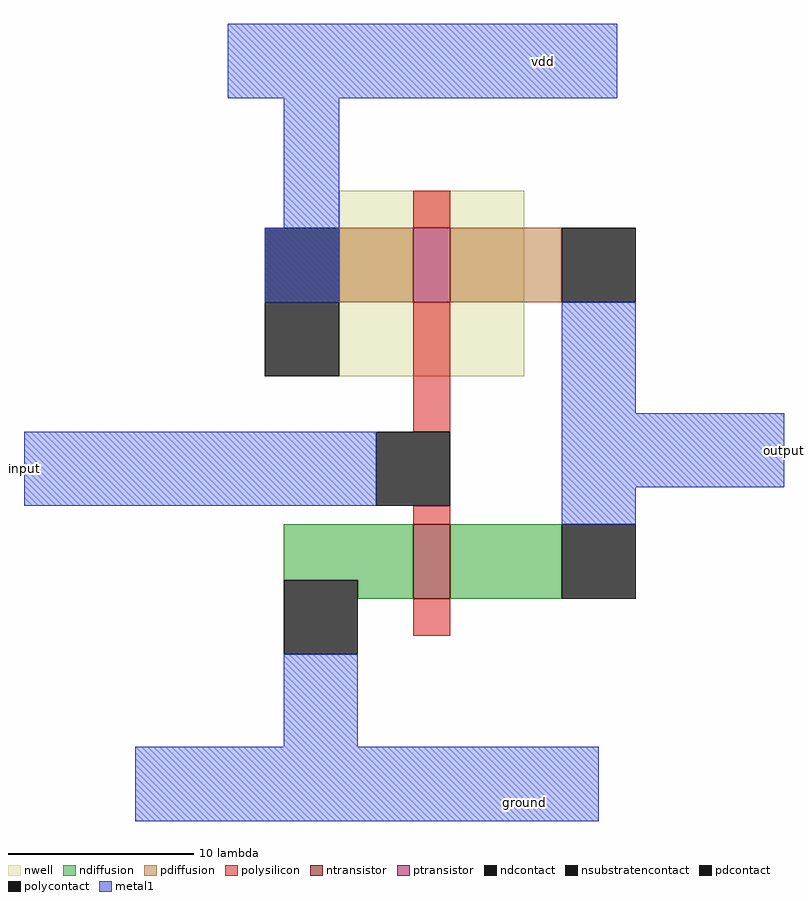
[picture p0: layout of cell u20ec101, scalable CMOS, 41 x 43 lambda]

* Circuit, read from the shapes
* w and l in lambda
.subckt u20ec101 ground input output vdd
M1 output input ground VSUBS nfet w=4 l=2
M2 output input vdd n1 pfet w=4 l=2
.ends

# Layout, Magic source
magic
tech scmos
<< nwell >>
rect -8 -3 2 7
<< polysilicon >>
rect -4 5 -2 7
rect -4 -6 -2 1
rect -4 -11 -2 -10
rect -4 -17 -2 -15
<< ndiffusion >>
rect -11 -14 -4 -11
rect -7 -15 -4 -14
rect -2 -15 4 -11
<< pdiffusion >>
rect -8 1 -4 5
rect -2 1 4 5
<< metal1 >>
rect -14 12 7 16
rect -11 5 -8 12
rect -12 1 -8 5
rect 4 -5 8 1
rect -25 -10 -6 -6
rect 4 -9 16 -5
rect 4 -11 8 -9
rect -11 -23 -7 -18
rect -19 -27 6 -23
<< ntransistor >>
rect -4 -15 -2 -11
<< ptransistor >>
rect -4 1 -2 5
<< polycontact >>
rect -6 -10 -2 -6
<< ndcontact >>
rect -11 -18 -7 -14
rect 4 -15 8 -11
<< pdcontact >>
rect -12 1 -8 5
rect 4 1 8 5
<< nsubstratencontact >>
rect -12 -3 -8 1
<< labels >>
rlabel metal1 3 14 3 14 5 vdd
rlabel metal1 2 -26 2 -26 1 ground
rlabel metal1 16 -9 16 -5 7 output
rlabel metal1 -25 -10 -25 -6 3 input
<< end >>
